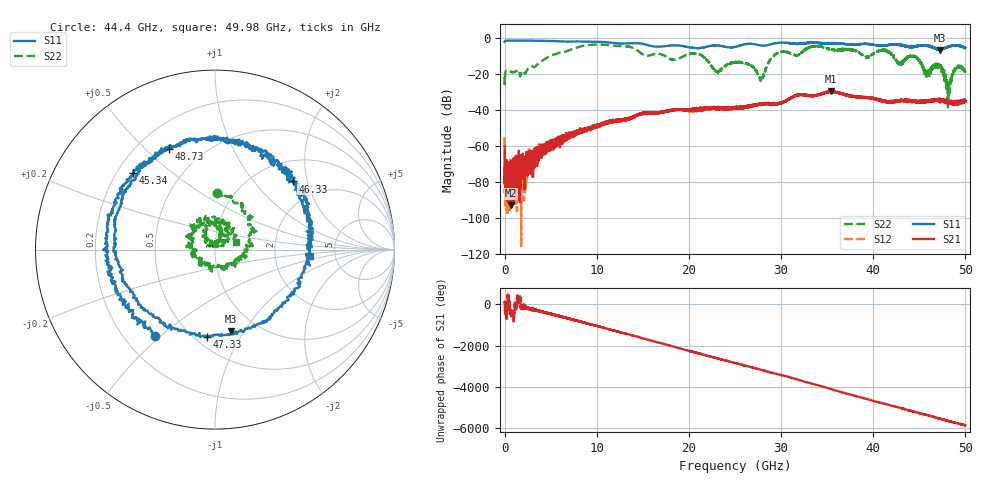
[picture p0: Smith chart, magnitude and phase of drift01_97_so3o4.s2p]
!Created with skrf (http://scikit-rf.org).
# Hz S RI R 50.0
!freq ReS11 ImS11 ReS21 ImS21 ReS12 ImS12 ReS22 ImS22
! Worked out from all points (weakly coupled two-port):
!   10001 points, 300 kHz to 50 GHz, reference 50 ohm
!   highest |S21| = -29.57 dB at 35.42 GHz (marker M1); lowest = -92.8 dB at 680.3 MHz (marker M2)
!   lowest |S11| = -6.7 dB at 47.21 GHz (marker M3), VSWR 2.72, Z = 38.1 - j43.9 ohm
!   |S11| at or under -10 dB: nowhere
!   |S22| runs from -38.4 to -3.6 dB; largest |S21 - S12| = 0.0036
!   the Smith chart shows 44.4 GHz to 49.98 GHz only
!   S11 on the Smith chart (normalised r, x): 44.4 GHz: 0.33, -0.48; 45.34 GHz: 0.27, +0.37; 46.33 GHz: 1.43, +1.63; 47.33 GHz: 0.57, -0.73; 48.73 GHz: 0.33, +0.59; 49.98 GHz: 3.20, -0.34
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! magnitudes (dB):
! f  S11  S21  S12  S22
! 300 kHz  -2.1  -60.4  -55.2  -21.7
! 255.3 MHz  -1.4  -88.1  -75.9  -18.0
! 680.3 MHz  -1.5  -92.8  -73.2  -18.7
! 8.335 GHz  -2.0  -50.8  -51.5  -4.5
! 16.67 GHz  -4.8  -41.4  -41.6  -8.7
! 20.97 GHz  -5.6  -40.0  -39.8  -8.8
! 23.08 GHz  -4.1  -39.0  -39.3  -18.7
! 25 GHz  -5.0  -38.2  -38.5  -13.7
! 27.84 GHz  -4.1  -36.1  -36.8  -23.1
! 29.47 GHz  -2.8  -36.4  -36.6  -8.8
! 33.34 GHz  -2.6  -32.1  -32.0  -4.7
! 35.42 GHz  -2.8  -29.6  -29.7  -6.2
! 41.67 GHz  -3.9  -35.2  -35.4  -7.7
! 44.4 GHz  -4.7  -35.2  -34.8  -10.0
! 45.34 GHz  -4.1  -35.4  -35.2  -15.5
! 46.33 GHz  -4.8  -35.3  -34.9  -16.0
! 47.21 GHz  -6.7  -33.9  -34.8  -16.7
! 47.33 GHz  -6.2  -34.9  -34.4  -15.2
! 48.13 GHz  -4.9  -35.2  -35.3  -33.3
! 48.73 GHz  -4.2  -36.7  -35.7  -18.1
! 49.98 GHz  -5.5  -34.6  -34.6  -18.0
! 50 GHz  -5.5  -35.4  -34.8  -18.5
